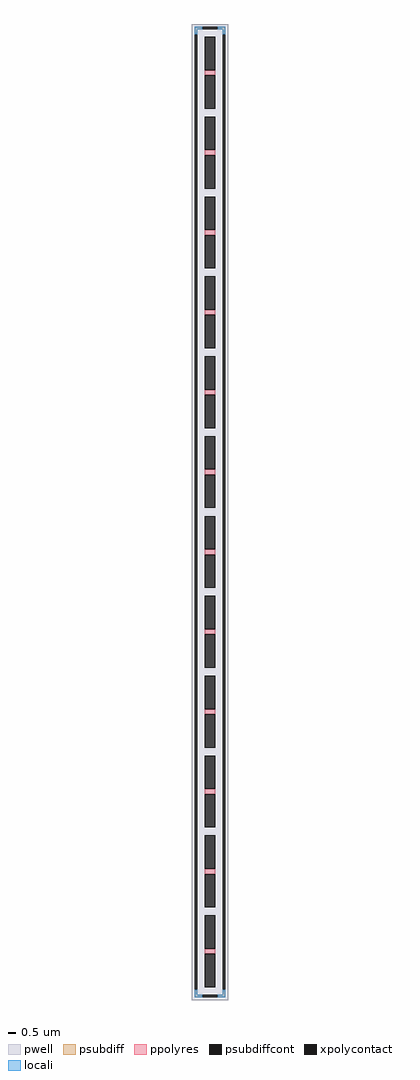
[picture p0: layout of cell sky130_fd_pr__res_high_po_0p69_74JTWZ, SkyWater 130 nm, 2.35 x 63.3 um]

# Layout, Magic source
magic
tech sky130A
magscale 1 2
<< pwell >>
rect -235 -6330 235 6330
<< psubdiff >>
rect -199 6260 -103 6294
rect 103 6260 199 6294
rect -199 6198 -165 6260
rect 165 6198 199 6260
rect -199 -6260 -165 -6198
rect 165 -6260 199 -6198
rect -199 -6294 -103 -6260
rect 103 -6294 199 -6260
<< psubdiffcont >>
rect -103 6260 103 6294
rect -199 -6198 -165 6198
rect 165 -6198 199 6198
rect -103 -6294 103 -6260
<< xpolycontact >>
rect -69 5732 69 6164
rect -69 5232 69 5664
rect -69 4696 69 5128
rect -69 4196 69 4628
rect -69 3660 69 4092
rect -69 3160 69 3592
rect -69 2624 69 3056
rect -69 2124 69 2556
rect -69 1588 69 2020
rect -69 1088 69 1520
rect -69 552 69 984
rect -69 52 69 484
rect -69 -484 69 -52
rect -69 -984 69 -552
rect -69 -1520 69 -1088
rect -69 -2020 69 -1588
rect -69 -2556 69 -2124
rect -69 -3056 69 -2624
rect -69 -3592 69 -3160
rect -69 -4092 69 -3660
rect -69 -4628 69 -4196
rect -69 -5128 69 -4696
rect -69 -5664 69 -5232
rect -69 -6164 69 -5732
<< ppolyres >>
rect -69 5664 69 5732
rect -69 4628 69 4696
rect -69 3592 69 3660
rect -69 2556 69 2624
rect -69 1520 69 1588
rect -69 484 69 552
rect -69 -552 69 -484
rect -69 -1588 69 -1520
rect -69 -2624 69 -2556
rect -69 -3660 69 -3592
rect -69 -4696 69 -4628
rect -69 -5732 69 -5664
<< locali >>
rect -199 6260 -103 6294
rect 103 6260 199 6294
rect -199 6198 -165 6260
rect 165 6198 199 6260
rect -199 -6260 -165 -6198
rect 165 -6260 199 -6198
rect -199 -6294 -103 -6260
rect 103 -6294 199 -6260
<< properties >>
string FIXED_BBOX -182 -6277 182 6277
string gencell sky130_fd_pr__res_high_po_0p69
string library sky130
string parameters w 0.690 l 0.50 m 12 nx 1 wmin 0.690 lmin 0.50 rho 319.8 val 1.57k dummy 0 dw 0.0 term 194.82 sterm 0.0 caplen 0 guard 1 glc 1 grc 1 gtc 1 gbc 1 compatible {sky130_fd_pr__res_high_po_0p35  sky130_fd_pr__res_high_po_0p69 sky130_fd_pr__res_high_po_1p41  sky130_fd_pr__res_high_po_2p85 sky130_fd_pr__res_high_po_5p73} snake 0 full_metal 1 wmax 0.690 n_guard 0 hv_guard 0 vias 0 viagb 0 viagt 0 viagl 0 viagr 0
<< end >>
